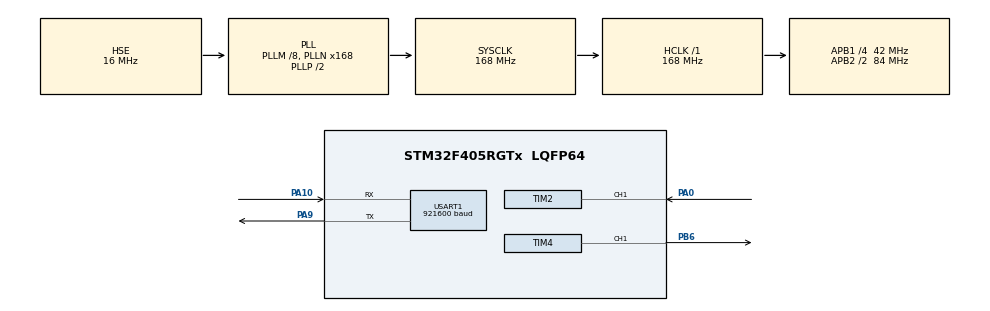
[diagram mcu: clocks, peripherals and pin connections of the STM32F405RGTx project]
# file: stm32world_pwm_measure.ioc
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Mcu.Family=STM32F4
Mcu.Name=STM32F405RGTx
Mcu.Package=LQFP64
Mcu.UserConstants=SAMPLE_COUNT,1000
NVIC.PriorityGroup=NVIC_PRIORITYGROUP_4
PA0-WKUP.Signal=S_TIM2_CH1_ETR
PA10.Mode=Asynchronous
PA10.Signal=USART1_RX
PA13.Mode=Serial_Wire
PA13.Signal=SYS_JTMS-SWDIO
PA14.Mode=Serial_Wire
PA14.Signal=SYS_JTCK-SWCLK
PA9.Mode=Asynchronous
PA9.Signal=USART1_TX
PB6.Signal=S_TIM4_CH1
PH0-OSC_IN.Mode=HSE-External-Oscillator
PH0-OSC_IN.Signal=RCC_OSC_IN
PH1-OSC_OUT.Mode=HSE-External-Oscillator
PH1-OSC_OUT.Signal=RCC_OSC_OUT
ProjectManager.HeapSize=0x200
ProjectManager.StackSize=0x400
ProjectManager.TargetToolchain=STM32CubeIDE
RCC.48MHZClocksFreq_Value=84000000
RCC.AHBFreq_Value=168000000
RCC.APB1CLKDivider=RCC_HCLK_DIV4
RCC.APB1Freq_Value=42000000
RCC.APB1TimFreq_Value=84000000
RCC.APB2CLKDivider=RCC_HCLK_DIV2
RCC.APB2Freq_Value=84000000
RCC.APB2TimFreq_Value=168000000
RCC.CortexFreq_Value=168000000
RCC.HCLKFreq_Value=168000000
RCC.HSE_VALUE=16000000
RCC.HSI_VALUE=16000000
RCC.LSE_VALUE=32768
RCC.PLLM=8
RCC.PLLN=168
RCC.PLLSourceVirtual=RCC_PLLSOURCE_HSE
RCC.SYSCLKFreq_VALUE=168000000
RCC.SYSCLKSource=RCC_SYSCLKSOURCE_PLLCLK
RCC.VCOOutputFreq_Value=336000000
SH.S_TIM2_CH1_ETR.0=TIM2_CH1,PWM_Input_1
SH.S_TIM4_CH1.0=TIM4_CH1,PWM Generation1 CH1
TIM4.Channel-PWM\ Generation1\ CH1=TIM_CHANNEL_1
TIM4.OCPolarity_1=TIM_OCPOLARITY_LOW
TIM4.Period=999
TIM4.Prescaler=839
TIM4.Pulse-PWM\ Generation1\ CH1=0
USART1.BaudRate=921600
USART1.VirtualMode=VM_ASYNC
VP_TIM4_VS_ClockSourceINT.Mode=Internal
board=custom

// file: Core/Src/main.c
/* USER CODE BEGIN Header */
/**
 ******************************************************************************
 * @file           : main.c
 * @brief          : Main program body
 ******************************************************************************
 * @attention
 *
 * Copyright (c) 2024 STM32World <lth@stm32world.com>
 * All rights reserved.
 *
 * This software is licensed under terms that can be found in the LICENSE file
 * in the root directory of this software component.
 * If no LICENSE file comes with this software, it is provided AS-IS.
 *
 ******************************************************************************
 */
/* USER CODE END Header */
#include "main.h"

/* USER CODE BEGIN Includes */
#include <stdio.h>
/* USER CODE END Includes */

TIM_HandleTypeDef htim2;
TIM_HandleTypeDef htim4;

UART_HandleTypeDef huart1;

void SystemClock_Config(void);
static void MX_GPIO_Init(void);
static void MX_USART1_UART_Init(void);
static void MX_TIM4_Init(void);
static void MX_TIM2_Init(void);

/* USER CODE BEGIN 0 */

// Send printf to uart1
int _write(int fd, char *ptr, int len) {
    HAL_StatusTypeDef hstatus;

    if (fd == 1 || fd == 2) {
        hstatus = HAL_UART_Transmit(&huart1, (uint8_t*) ptr, len, HAL_MAX_DELAY);
        if (hstatus == HAL_OK)
            return len;
        else
            return -1;
    }
    return -1;
}

/* USER CODE END 0 */

int main(void)
{

  /* MCU Configuration--------------------------------------------------------*/

  /* Reset of all peripherals, Initializes the Flash interface and the Systick. */
  HAL_Init();

  /* Configure the system clock */
  SystemClock_Config();

  /* Initialize all configured peripherals */
  MX_GPIO_Init();
  MX_USART1_UART_Init();
  MX_TIM4_Init();
  MX_TIM2_Init();
  /* USER CODE BEGIN 2 */

    printf("\n\n\n\n-------------\nStarting pwm1\n");

    printf("Starting timer channel");
    HAL_TIM_PWM_Start(&htim4, TIM_CHANNEL_1);

    //__HAL_TIM_SET_COMPARE(&htim4, TIM_CHANNEL_1, 900);

  /* USER CODE END 2 */

  /* Infinite loop */
  /* USER CODE BEGIN WHILE */

    uint16_t pwm_value = 0;
    int8_t pwm_change = 1;

    uint32_t now = 0, loop_cnt = 0, next_tick = 1000, next_change = 0;

    while (1) {

        now = uwTick;

        if (now >= next_tick) {

            printf("Tick %lu (loop = %lu)\n", now / 1000, loop_cnt);

            loop_cnt = 0;
            next_tick = now + 1000;
        }

        if (now >= next_change) {

            __HAL_TIM_SET_COMPARE(&htim4, TIM_CHANNEL_1, pwm_value);

            pwm_value += pwm_change;

            if (pwm_value == 0)
                pwm_change = 1;
            if (pwm_value == 1000)
                pwm_change = -1;

            next_change = now + 2;
        }

        ++loop_cnt;

    /* USER CODE END WHILE */

    }
}

void SystemClock_Config(void)
{
  RCC_OscInitTypeDef RCC_OscInitStruct = {0};
  RCC_ClkInitTypeDef RCC_ClkInitStruct = {0};

  /** Configure the main internal regulator output voltage
  */
  __HAL_RCC_PWR_CLK_ENABLE();
  __HAL_PWR_VOLTAGESCALING_CONFIG(PWR_REGULATOR_VOLTAGE_SCALE1);

  /** Initializes the RCC Oscillators according to the specified parameters
  * in the RCC_OscInitTypeDef structure.
  */
  RCC_OscInitStruct.OscillatorType = RCC_OSCILLATORTYPE_HSE;
  RCC_OscInitStruct.HSEState = RCC_HSE_ON;
  RCC_OscInitStruct.PLL.PLLState = RCC_PLL_ON;
  RCC_OscInitStruct.PLL.PLLSource = RCC_PLLSOURCE_HSE;
  RCC_OscInitStruct.PLL.PLLM = 8;
  RCC_OscInitStruct.PLL.PLLN = 168;
  RCC_OscInitStruct.PLL.PLLP = RCC_PLLP_DIV2;
  RCC_OscInitStruct.PLL.PLLQ = 4;
  if (HAL_RCC_OscConfig(&RCC_OscInitStruct) != HAL_OK)
  {
    Error_Handler();
  }

  /** Initializes the CPU, AHB and APB buses clocks
  */
  RCC_ClkInitStruct.ClockType = RCC_CLOCKTYPE_HCLK|RCC_CLOCKTYPE_SYSCLK
                              |RCC_CLOCKTYPE_PCLK1|RCC_CLOCKTYPE_PCLK2;
  RCC_ClkInitStruct.SYSCLKSource = RCC_SYSCLKSOURCE_PLLCLK;
  RCC_ClkInitStruct.AHBCLKDivider = RCC_SYSCLK_DIV1;
  RCC_ClkInitStruct.APB1CLKDivider = RCC_HCLK_DIV4;
  RCC_ClkInitStruct.APB2CLKDivider = RCC_HCLK_DIV2;

  if (HAL_RCC_ClockConfig(&RCC_ClkInitStruct, FLASH_LATENCY_5) != HAL_OK)
  {
    Error_Handler();
  }
}

static void MX_TIM2_Init(void)
{

  TIM_SlaveConfigTypeDef sSlaveConfig = {0};
  TIM_IC_InitTypeDef sConfigIC = {0};
  TIM_MasterConfigTypeDef sMasterConfig = {0};

  htim2.Instance = TIM2;
  htim2.Init.Prescaler = 0;
  htim2.Init.CounterMode = TIM_COUNTERMODE_UP;
  htim2.Init.Period = 4294967295;
  htim2.Init.ClockDivision = TIM_CLOCKDIVISION_DIV1;
  htim2.Init.AutoReloadPreload = TIM_AUTORELOAD_PRELOAD_DISABLE;
  if (HAL_TIM_IC_Init(&htim2) != HAL_OK)
  {
    Error_Handler();
  }
  sSlaveConfig.SlaveMode = TIM_SLAVEMODE_RESET;
  sSlaveConfig.InputTrigger = TIM_TS_TI1FP1;
  sSlaveConfig.TriggerPolarity = TIM_INPUTCHANNELPOLARITY_RISING;
  sSlaveConfig.TriggerPrescaler = TIM_ICPSC_DIV1;
  sSlaveConfig.TriggerFilter = 0;
  if (HAL_TIM_SlaveConfigSynchro(&htim2, &sSlaveConfig) != HAL_OK)
  {
    Error_Handler();
  }
  sConfigIC.ICPolarity = TIM_INPUTCHANNELPOLARITY_RISING;
  sConfigIC.ICSelection = TIM_ICSELECTION_DIRECTTI;
  sConfigIC.ICPrescaler = TIM_ICPSC_DIV1;
  sConfigIC.ICFilter = 0;
  if (HAL_TIM_IC_ConfigChannel(&htim2, &sConfigIC, TIM_CHANNEL_1) != HAL_OK)
  {
    Error_Handler();
  }
  sConfigIC.ICPolarity = TIM_INPUTCHANNELPOLARITY_FALLING;
  sConfigIC.ICSelection = TIM_ICSELECTION_INDIRECTTI;
  if (HAL_TIM_IC_ConfigChannel(&htim2, &sConfigIC, TIM_CHANNEL_2) != HAL_OK)
  {
    Error_Handler();
  }
  sMasterConfig.MasterOutputTrigger = TIM_TRGO_RESET;
  sMasterConfig.MasterSlaveMode = TIM_MASTERSLAVEMODE_DISABLE;
  if (HAL_TIMEx_MasterConfigSynchronization(&htim2, &sMasterConfig) != HAL_OK)
  {
    Error_Handler();
  }

}

static void MX_TIM4_Init(void)
{

  TIM_ClockConfigTypeDef sClockSourceConfig = {0};
  TIM_MasterConfigTypeDef sMasterConfig = {0};
  TIM_OC_InitTypeDef sConfigOC = {0};

  htim4.Instance = TIM4;
  htim4.Init.Prescaler = 839;
  htim4.Init.CounterMode = TIM_COUNTERMODE_UP;
  htim4.Init.Period = 999;
  htim4.Init.ClockDivision = TIM_CLOCKDIVISION_DIV1;
  htim4.Init.AutoReloadPreload = TIM_AUTORELOAD_PRELOAD_DISABLE;
  if (HAL_TIM_Base_Init(&htim4) != HAL_OK)
  {
    Error_Handler();
  }
  sClockSourceConfig.ClockSource = TIM_CLOCKSOURCE_INTERNAL;
  if (HAL_TIM_ConfigClockSource(&htim4, &sClockSourceConfig) != HAL_OK)
  {
    Error_Handler();
  }
  if (HAL_TIM_PWM_Init(&htim4) != HAL_OK)
  {
    Error_Handler();
  }
  sMasterConfig.MasterOutputTrigger = TIM_TRGO_RESET;
  sMasterConfig.MasterSlaveMode = TIM_MASTERSLAVEMODE_DISABLE;
  if (HAL_TIMEx_MasterConfigSynchronization(&htim4, &sMasterConfig) != HAL_OK)
  {
    Error_Handler();
  }
  sConfigOC.OCMode = TIM_OCMODE_PWM1;
  sConfigOC.Pulse = 0;
  sConfigOC.OCPolarity = TIM_OCPOLARITY_LOW;
  sConfigOC.OCFastMode = TIM_OCFAST_DISABLE;
  if (HAL_TIM_PWM_ConfigChannel(&htim4, &sConfigOC, TIM_CHANNEL_1) != HAL_OK)
  {
    Error_Handler();
  }
  HAL_TIM_MspPostInit(&htim4);

}

static void MX_USART1_UART_Init(void)
{

  huart1.Instance = USART1;
  huart1.Init.BaudRate = 921600;
  huart1.Init.WordLength = UART_WORDLENGTH_8B;
  huart1.Init.StopBits = UART_STOPBITS_1;
  huart1.Init.Parity = UART_PARITY_NONE;
  huart1.Init.Mode = UART_MODE_TX_RX;
  huart1.Init.HwFlowCtl = UART_HWCONTROL_NONE;
  huart1.Init.OverSampling = UART_OVERSAMPLING_16;
  if (HAL_UART_Init(&huart1) != HAL_OK)
  {
    Error_Handler();
  }

}

static void MX_GPIO_Init(void)
{

  /* GPIO Ports Clock Enable */
  __HAL_RCC_GPIOH_CLK_ENABLE();
  __HAL_RCC_GPIOA_CLK_ENABLE();
  __HAL_RCC_GPIOB_CLK_ENABLE();

}

void Error_Handler(void)
{
    __disable_irq();
    while (1)
    {
    }
}
